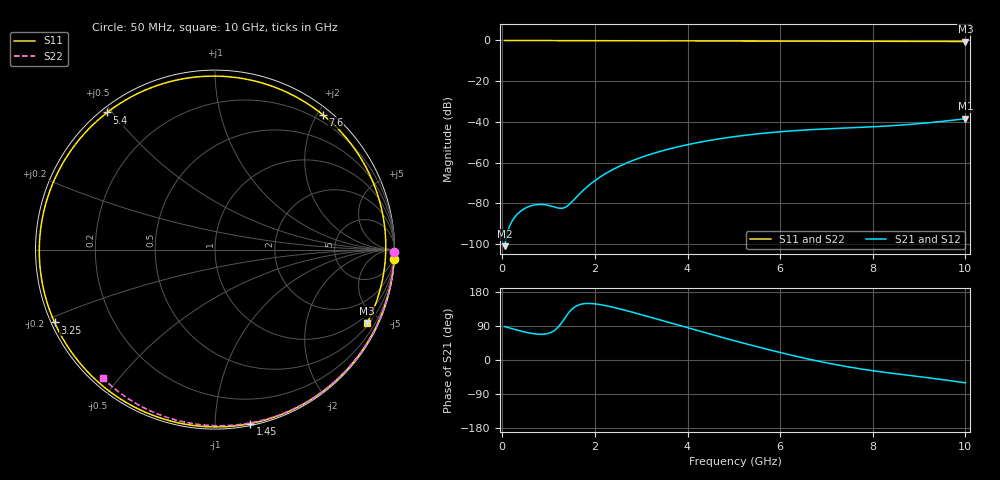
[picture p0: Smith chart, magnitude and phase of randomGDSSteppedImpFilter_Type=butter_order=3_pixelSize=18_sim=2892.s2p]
! freq	dB(S11)	phase(S11)	dB(S12)	phase(S12)
!  dB(S21)	phase(S21)	dB(S22)	phase(S22)
!S-par simulation data
#  GHz  S  DB  R 50
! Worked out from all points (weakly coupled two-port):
!   200 points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, 50 MHz to 10 GHz, reference 50 ohm
!   highest |S21| = -38.43 dB at 10 GHz (marker M1); lowest = -100.9 dB at 50 MHz (marker M2)
!   lowest |S11| = -0.5 dB at 10 GHz (marker M3), VSWR 32.96, Z = 29.8 - j214 ohm
!   |S11| at or under -10 dB: nowhere
!   |S22| runs from -0.4 to 0.0 dB; largest |S21 - S12| = 0
!   S11 on the Smith chart (normalised r, x): 50 MHz: 0, -40; 1.45 GHz: 0.01, -1.22; 3.25 GHz: 0.01, -0.22; 5.4 GHz: 0.02, +0.49; 7.6 GHz: 0.10, +2.07; 10 GHz: 0.60, -4.28
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0.05  -0.00 -2.9  -100.94 88.2  -100.94 88.2  -0.00 -0.8
0.4  -0.03 -22.8  -83.69 76.4  -83.69 76.4  -0.01 -6.0
0.8  -0.06 -44.9  -80.46 67.9  -80.46 67.9  -0.02 -12.1
1.15  -0.08 -63.4  -81.89 80.2  -81.89 80.2  -0.02 -17.3
1.45  -0.09 -78.6  -80.38 127.2  -80.38 127.2  -0.03 -21.7
1.75  -0.11 -93.0  -73.48 148.3  -73.48 148.3  -0.03 -26.2
2.05  -0.12 -106.7  -67.95 147.4  -67.95 147.4  -0.04 -30.6
2.4  -0.13 -121.8  -63.17 139.0  -63.17 139.0  -0.05 -35.6
2.85  -0.15 -140.2  -58.62 124.7  -58.62 124.7  -0.05 -42.1
3.25  -0.16 -155.6  -55.50 111.1  -55.50 111.1  -0.06 -47.7
3.4  -0.17 -161.2  -54.49 105.9  -54.49 105.9  -0.07 -49.8
3.8  -0.18 -175.8  -52.15 92.0  -52.15 92.0  -0.08 -55.4
4.2  -0.20 169.9  -50.20 78.2  -50.20 78.2  -0.09 -60.8
5.05  -0.23 140.3  -47.08 49.6  -47.08 49.6  -0.11 -72.1
5.4  -0.25 128.2  -46.11 38.3  -46.11 38.3  -0.12 -76.6
6.05  -0.28 105.5  -44.71 18.3  -44.71 18.3  -0.15 -84.9
6.7  -0.30 82.8  -43.72 0.1  -43.72 0.1  -0.18 -92.9
7.15  -0.32 67.0  -43.22 -11.0  -43.22 -11.0  -0.20 -98.4
7.6  -0.34 51.4  -42.77 -20.8  -42.77 -20.8  -0.23 -103.7
8.35  -0.38 25.8  -41.92 -34.0  -41.92 -34.0  -0.29 -112.5
9.15  -0.43 -0.3  -40.50 -46.1  -40.50 -46.1  -0.36 -121.7
10  -0.53 -25.8  -38.43 -60.3  -38.43 -60.3  -0.44 -131.2
